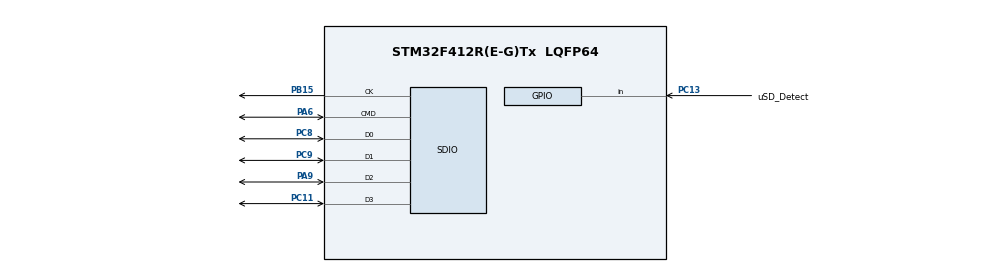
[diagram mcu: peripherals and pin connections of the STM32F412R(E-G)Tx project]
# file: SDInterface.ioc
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Dma.Request0=SDIO_RX
Dma.Request1=SDIO_TX
Dma.SDIO_RX.0.Direction=DMA_PERIPH_TO_MEMORY
Dma.SDIO_RX.0.FIFOMode=DMA_FIFOMODE_ENABLE
Dma.SDIO_RX.0.FIFOThreshold=DMA_FIFO_THRESHOLD_FULL
Dma.SDIO_RX.0.Instance=DMA2_Stream3
Dma.SDIO_RX.0.MemBurst=DMA_MBURST_INC4
Dma.SDIO_RX.0.MemDataAlignment=DMA_MDATAALIGN_WORD
Dma.SDIO_RX.0.MemInc=DMA_MINC_ENABLE
Dma.SDIO_RX.0.Mode=DMA_PFCTRL
Dma.SDIO_RX.0.PeriphBurst=DMA_PBURST_INC4
Dma.SDIO_RX.0.PeriphDataAlignment=DMA_PDATAALIGN_WORD
Dma.SDIO_RX.0.PeriphInc=DMA_PINC_DISABLE
Dma.SDIO_RX.0.Priority=DMA_PRIORITY_LOW
Dma.SDIO_TX.1.Direction=DMA_MEMORY_TO_PERIPH
Dma.SDIO_TX.1.FIFOMode=DMA_FIFOMODE_ENABLE
Dma.SDIO_TX.1.FIFOThreshold=DMA_FIFO_THRESHOLD_FULL
Dma.SDIO_TX.1.Instance=DMA2_Stream6
Dma.SDIO_TX.1.MemBurst=DMA_MBURST_INC4
Dma.SDIO_TX.1.MemDataAlignment=DMA_MDATAALIGN_WORD
Dma.SDIO_TX.1.MemInc=DMA_MINC_ENABLE
Dma.SDIO_TX.1.Mode=DMA_PFCTRL
Dma.SDIO_TX.1.PeriphBurst=DMA_PBURST_INC4
Dma.SDIO_TX.1.PeriphDataAlignment=DMA_PDATAALIGN_WORD
Dma.SDIO_TX.1.PeriphInc=DMA_PINC_DISABLE
Dma.SDIO_TX.1.Priority=DMA_PRIORITY_LOW
FATFS.BSP.number=1
FATFS.USE_DMA_CODE_SD=1
FATFS0.BSP.STBoard=false
FATFS0.BSP.api=Unknown
FATFS0.BSP.instance=PC13
FATFS0.BSP.ip=GPIO
FATFS0.BSP.mode=Input
FATFS0.BSP.name=Detect_SDIO
FATFS0.BSP.solution=PC13
Mcu.Family=STM32F4
Mcu.Name=STM32F412R(E-G)Tx
Mcu.Package=LQFP64
NVIC.DMA2_Stream3_IRQn=true\:0\:0\:false\:false\:true\:false\:true\:true
NVIC.DMA2_Stream6_IRQn=true\:0\:0\:false\:false\:true\:false\:true\:true
NVIC.PriorityGroup=NVIC_PRIORITYGROUP_4
NVIC.SDIO_IRQn=true\:0\:0\:false\:false\:true\:true\:true\:true
PA13.Mode=Serial_Wire
PA13.Signal=SYS_JTMS-SWDIO
PA14.Mode=Serial_Wire
PA14.Signal=SYS_JTCK-SWCLK
PA6.Mode=SD_4_bits_Wide_bus
PA6.Signal=SDIO_CMD
PA9.Mode=SD_4_bits_Wide_bus
PA9.Signal=SDIO_D2
PB15.Mode=SD_4_bits_Wide_bus
PB15.Signal=SDIO_CK
PC11.Mode=SD_4_bits_Wide_bus
PC11.Signal=SDIO_D3
PC13.GPIO_Label=uSD_Detect
PC13.Signal=GPIO_Input
PC8.Mode=SD_4_bits_Wide_bus
PC8.Signal=SDIO_D0
PC9.Mode=SD_4_bits_Wide_bus
PC9.Signal=SDIO_D1
ProjectManager.HeapSize=0x400
ProjectManager.StackSize=0x800
ProjectManager.TargetToolchain=STM32CubeIDE
RCC.CortexFreq_Value=16000000
RCC.PLLM=8
RCC.PLLN=50
RCC.USBFreq_Value=50000000
RCC.VCOOutputFreq_Value=100000000
VP_FATFS_VS_SDIO.Mode=SDIO
board=custom

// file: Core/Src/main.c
/* USER CODE BEGIN Header */
/**
  ******************************************************************************
  * @file           : main.c
  * @brief          : Main program body
  ******************************************************************************
  * @attention
  *
  * Copyright (c) 2024 STMicroelectronics.
  * All rights reserved.
  *
  * This software is licensed under terms that can be found in the LICENSE file
  * in the root directory of this software component.
  * If no LICENSE file comes with this software, it is provided AS-IS.
  *
  ******************************************************************************
  */
/* USER CODE END Header */
#include "main.h"
#include "fatfs.h"

/* USER CODE BEGIN Includes */
#include <string.h>
/* USER CODE END Includes */

SD_HandleTypeDef hsd;
DMA_HandleTypeDef hdma_sdio_rx;
DMA_HandleTypeDef hdma_sdio_tx;

void SystemClock_Config(void);
static void MX_GPIO_Init(void);
static void MX_DMA_Init(void);
static void MX_SDIO_SD_Init(void);
/* USER CODE BEGIN PFP */
void writeToFile (const char* text, const char* filename);
/* USER CODE END PFP */

int main(void)
{

  /* USER CODE BEGIN 1 */
//	FRESULT res;
//	uint32_t byteswritten, bytesread;
//	uint8_t wtext[] = "3434543";
	uint8_t rtext[_MAX_SS];
  /* USER CODE END 1 */

  /* MCU Configuration--------------------------------------------------------*/

  /* Reset of all peripherals, Initializes the Flash interface and the Systick. */
  HAL_Init();

  /* Configure the system clock */
  SystemClock_Config();

  /* Initialize all configured peripherals */
  MX_GPIO_Init();
  MX_DMA_Init();
  MX_SDIO_SD_Init();
  MX_FATFS_Init();
  /* USER CODE BEGIN 2 */
  if(f_mount(&SDFatFS, (TCHAR const*)SDPath, 0) != FR_OK)
  {
      Error_Handler();
  }
  else
  {
      if(f_mkfs((TCHAR const*)SDPath, FM_ANY, 0, rtext, sizeof(rtext)) != FR_OK)
      {
          Error_Handler();
      }
      else
      {
    	  writeToFile("Speed, Temp, Current, Voltage\n", "readings.csv");
    	  writeToFile("34, 43, 16, 14\n", "readings.csv");
    	  writeToFile("34, 43, 16, 14\n", "readings.csv");
    	  writeToFile("34, 43, 16, 14\n", "readings.csv");
    	  writeToFile("34, 43, 16, 14\n", "readings.csv");
      }
  }
  f_mount(&SDFatFS, (TCHAR const*)NULL, 0);

  /* USER CODE END 2 */

  /* Infinite loop */
  while (1)
  {

  }
}

void SystemClock_Config(void)
{
  RCC_OscInitTypeDef RCC_OscInitStruct = {0};
  RCC_ClkInitTypeDef RCC_ClkInitStruct = {0};

  /** Configure the main internal regulator output voltage
  */
  __HAL_RCC_PWR_CLK_ENABLE();
  __HAL_PWR_VOLTAGESCALING_CONFIG(PWR_REGULATOR_VOLTAGE_SCALE1);

  /** Initializes the RCC Oscillators according to the specified parameters
  * in the RCC_OscInitTypeDef structure.
  */
  RCC_OscInitStruct.OscillatorType = RCC_OSCILLATORTYPE_HSI;
  RCC_OscInitStruct.HSIState = RCC_HSI_ON;
  RCC_OscInitStruct.HSICalibrationValue = RCC_HSICALIBRATION_DEFAULT;
  RCC_OscInitStruct.PLL.PLLState = RCC_PLL_ON;
  RCC_OscInitStruct.PLL.PLLSource = RCC_PLLSOURCE_HSI;
  RCC_OscInitStruct.PLL.PLLM = 8;
  RCC_OscInitStruct.PLL.PLLN = 50;
  RCC_OscInitStruct.PLL.PLLP = RCC_PLLP_DIV2;
  RCC_OscInitStruct.PLL.PLLQ = 2;
  RCC_OscInitStruct.PLL.PLLR = 2;
  if (HAL_RCC_OscConfig(&RCC_OscInitStruct) != HAL_OK)
  {
    Error_Handler();
  }

  /** Initializes the CPU, AHB and APB buses clocks
  */
  RCC_ClkInitStruct.ClockType = RCC_CLOCKTYPE_HCLK|RCC_CLOCKTYPE_SYSCLK
                              |RCC_CLOCKTYPE_PCLK1|RCC_CLOCKTYPE_PCLK2;
  RCC_ClkInitStruct.SYSCLKSource = RCC_SYSCLKSOURCE_HSI;
  RCC_ClkInitStruct.AHBCLKDivider = RCC_SYSCLK_DIV1;
  RCC_ClkInitStruct.APB1CLKDivider = RCC_HCLK_DIV1;
  RCC_ClkInitStruct.APB2CLKDivider = RCC_HCLK_DIV1;

  if (HAL_RCC_ClockConfig(&RCC_ClkInitStruct, FLASH_LATENCY_0) != HAL_OK)
  {
    Error_Handler();
  }
}

static void MX_SDIO_SD_Init(void)
{

  hsd.Instance = SDIO;
  hsd.Init.ClockEdge = SDIO_CLOCK_EDGE_RISING;
  hsd.Init.ClockBypass = SDIO_CLOCK_BYPASS_DISABLE;
  hsd.Init.ClockPowerSave = SDIO_CLOCK_POWER_SAVE_DISABLE;
  hsd.Init.BusWide = SDIO_BUS_WIDE_4B;
  hsd.Init.HardwareFlowControl = SDIO_HARDWARE_FLOW_CONTROL_DISABLE;
  hsd.Init.ClockDiv = 0;

}

static void MX_DMA_Init(void)
{

  /* DMA controller clock enable */
  __HAL_RCC_DMA2_CLK_ENABLE();

  /* DMA interrupt init */
  /* DMA2_Stream3_IRQn interrupt configuration */
  HAL_NVIC_SetPriority(DMA2_Stream3_IRQn, 0, 0);
  HAL_NVIC_EnableIRQ(DMA2_Stream3_IRQn);
  /* DMA2_Stream6_IRQn interrupt configuration */
  HAL_NVIC_SetPriority(DMA2_Stream6_IRQn, 0, 0);
  HAL_NVIC_EnableIRQ(DMA2_Stream6_IRQn);

}

static void MX_GPIO_Init(void)
{
  GPIO_InitTypeDef GPIO_InitStruct = {0};

  /* GPIO Ports Clock Enable */
  __HAL_RCC_GPIOC_CLK_ENABLE();
  __HAL_RCC_GPIOA_CLK_ENABLE();
  __HAL_RCC_GPIOB_CLK_ENABLE();

  /*Configure GPIO pin : uSD_Detect_Pin */
  GPIO_InitStruct.Pin = uSD_Detect_Pin;
  GPIO_InitStruct.Mode = GPIO_MODE_INPUT;
  GPIO_InitStruct.Pull = GPIO_NOPULL;
  HAL_GPIO_Init(uSD_Detect_GPIO_Port, &GPIO_InitStruct);

}

/* USER CODE BEGIN 4 */
void writeToFile (const char* text, const char* filename)
{
	FRESULT res;
	uint32_t byteswritten;
    //Open file for writing (Create)
     if(f_open(&SDFile, filename, FA_OPEN_APPEND | FA_CREATE_ALWAYS | FA_WRITE) != FR_OK)
     {
         Error_Handler();
     }
     else
     {
         //Write to the text file
         res = f_write(&SDFile, text, strlen(text), (void *)&byteswritten);
         if((byteswritten == 0) || (res != FR_OK))
         {
             Error_Handler();
         }
         else
         {
             f_close(&SDFile);
         }
     }
}

/* USER CODE END 4 */

void Error_Handler(void)
{
  __disable_irq();
  while (1)
  {
  }
}
